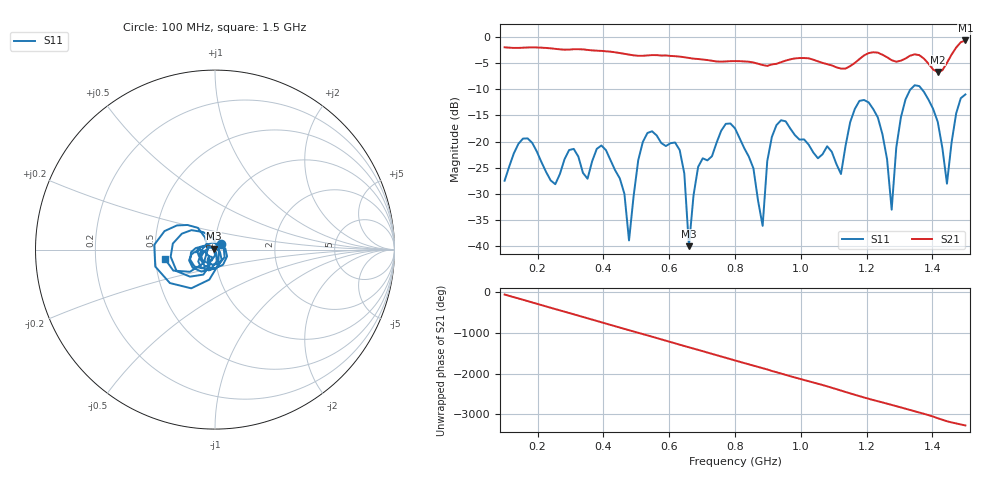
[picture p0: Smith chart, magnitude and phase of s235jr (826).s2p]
! NanoVNA-App
! Date: 2025-09-25 15:10:36
! Start: 100MHz Stop: 1,5GHz Points: 101
! S-Parameter data: F S11 S21 S12 S22
# Hz S RI R 50
!  Frequency  S11_Real  S11_Imag  S21_Real  S21_Imag  S12_Real  S12_Imag  S22_Real  S22_Imag
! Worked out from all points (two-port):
!   101 points, 100 MHz to 1.5 GHz, reference 50 ohm
!   highest |S21| = -0.66 dB at 1.5 GHz (marker M1); lowest = -6.7 dB at 1.416 GHz (marker M2)
!   |S21| within 3 dB of the highest: start of sweep to 615.5 MHz; 1.189 GHz to 1.256 GHz (66.67 MHz wide, 5.45 % of centre) (the widest 2 of 4)
!   lowest |S11| = -40.0 dB at 660 MHz (marker M3), VSWR 1.02, Z = 49.2 + j0.571 ohm
!   |S11| at or under -10 dB: start of sweep to 1.333 GHz; 1.368 GHz to end of sweep
!   S12 and S22 are empty: the file has one direction only
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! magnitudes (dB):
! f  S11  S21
! 100 MHz  -27.5  -2.0
! 156 MHz  -19.4  -2.0
! 338 MHz  -26.0  -2.4
! 408 MHz  -21.6  -2.7
! 478 MHz  -38.9  -3.4
! 520 MHz  -20.1  -3.6
! 576 MHz  -20.3  -3.5
! 632 MHz  -21.6  -3.7
! 660 MHz  -40.0  -4.0
! 688 MHz  -24.8  -4.2
! 800 MHz  -17.5  -4.6
! 884 MHz  -36.1  -5.4
! 926 MHz  -16.8  -5.1
! 1.038 GHz  -22.1  -4.3
! 1.122 GHz  -26.2  -6.0
! 1.206 GHz  -12.5  -3.1
! 1.248 GHz  -18.6  -3.4
! 1.276 GHz  -33.0  -4.4
! 1.332 GHz  -10.1  -3.6
! 1.416 GHz  -16.2  -6.7
! 1.444 GHz  -28.0  -4.9
! 1.5 GHz  -11.0  -0.7
